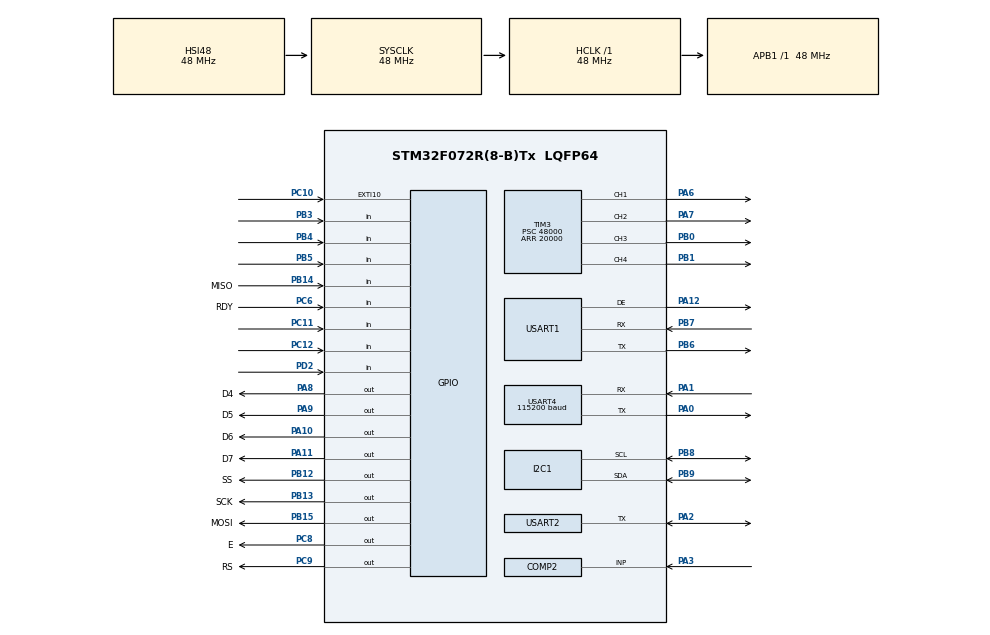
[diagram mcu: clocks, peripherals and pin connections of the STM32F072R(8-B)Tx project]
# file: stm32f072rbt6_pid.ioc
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CRC.InputDataFormat=CRC_INPUTDATA_FORMAT_WORDS
FREERTOS.INCLUDE_vTaskDelayUntil=1
FREERTOS.Mutexes01=Mutex_T_
FREERTOS.Tasks01=adcTask,2,128,StartAdcTask;pidTask,1,128,StartPidTask;LcdTask,0,128,StartLcdTask;ProgramTask,0,128,StartProgramTask
FREERTOS.configCHECK_FOR_STACK_OVERFLOW=2
FREERTOS.configTOTAL_HEAP_SIZE=5000
FREERTOS.configUSE_IDLE_HOOK=1
FREERTOS.configUSE_MALLOC_FAILED_HOOK=1
FREERTOS.configUSE_TIMERS=0
Mcu.Family=STM32F0
Mcu.Name=STM32F072R(8-B)Tx
Mcu.Package=LQFP64
NVIC.EXTI4_15_IRQn=true\:3\:0\:false
NVIC.TIM3_IRQn=true\:3\:0\:false
NVIC.USART1_IRQn=true\:3\:0\:false
NVIC.USART2_IRQn=true\:3\:0\:false
PA0.Mode=Asynchronous
PA0.Signal=USART4_TX
PA1.Mode=Asynchronous
PA1.Signal=USART4_RX
PA10.GPIO_Label=D6
PA10.GPIO_ModeDefaultOutputPP=GPIO_MODE_OUTPUT_PP
PA10.GPIO_PuPd=GPIO_NOPULL
PA10.GPIO_Speed=GPIO_SPEED_LOW
PA10.Signal=GPIO_Output
PA11.GPIO_Label=D7
PA11.GPIO_ModeDefaultOutputPP=GPIO_MODE_OUTPUT_PP
PA11.GPIO_PuPd=GPIO_NOPULL
PA11.GPIO_Speed=GPIO_SPEED_LOW
PA11.Signal=GPIO_Output
PA12.Mode=Hardware Control (RS485)
PA12.Signal=USART1_DE
PA13.Mode=Serial-WireDebug
PA13.Signal=SYS_SWDIO
PA14.Mode=Serial-WireDebug
PA14.Signal=SYS_SWCLK
PA2.Mode=Half_duplex(single_wire_mode)
PA2.Signal=USART2_TX
PA3.Mode=INP
PA3.Signal=COMP2_INP
PA6.Signal=S_TIM3_CH1
PA7.Signal=S_TIM3_CH2
PA8.GPIO_Label=D4
PA8.GPIO_ModeDefaultOutputPP=GPIO_MODE_OUTPUT_PP
PA8.GPIO_PuPd=GPIO_NOPULL
PA8.GPIO_Speed=GPIO_SPEED_LOW
PA8.Signal=GPIO_Output
PA9.GPIO_Label=D5
PA9.GPIO_ModeDefaultOutputPP=GPIO_MODE_OUTPUT_PP
PA9.GPIO_PuPd=GPIO_NOPULL
PA9.GPIO_Speed=GPIO_SPEED_LOW
PA9.Signal=GPIO_Output
PB0.Signal=S_TIM3_CH3
PB1.Signal=S_TIM3_CH4
PB12.GPIO_Label=SS
PB12.GPIO_ModeDefaultOutputPP=GPIO_MODE_OUTPUT_PP
PB12.GPIO_PuPd=GPIO_PULLUP
PB12.GPIO_Speed=GPIO_SPEED_MEDIUM
PB12.Signal=GPIO_Output
PB13.GPIO_Label=SCK
PB13.GPIO_ModeDefaultOutputPP=GPIO_MODE_OUTPUT_PP
PB13.GPIO_PuPd=GPIO_NOPULL
PB13.GPIO_Speed=GPIO_SPEED_HIGH
PB13.Signal=GPIO_Output
PB14.GPIO_Label=MISO
PB14.GPIO_Mode=GPIO_MODE_INPUT
PB14.GPIO_PuPd=GPIO_NOPULL
PB14.Signal=GPIO_Input
PB15.GPIO_Label=MOSI
PB15.GPIO_ModeDefaultOutputPP=GPIO_MODE_OUTPUT_PP
PB15.GPIO_PuPd=GPIO_NOPULL
PB15.GPIO_Speed=GPIO_SPEED_HIGH
PB15.Signal=GPIO_Output
PB3.GPIO_Mode=GPIO_MODE_INPUT
PB3.GPIO_PuPd=GPIO_PULLUP
PB3.Signal=GPIO_Input
PB4.GPIO_Mode=GPIO_MODE_INPUT
PB4.GPIO_PuPd=GPIO_PULLUP
PB4.Signal=GPIO_Input
PB5.GPIO_Mode=GPIO_MODE_INPUT
PB5.GPIO_PuPd=GPIO_PULLUP
PB5.Signal=GPIO_Input
PB6.Mode=Asynchronous
PB6.Signal=USART1_TX
PB7.Mode=Asynchronous
PB7.Signal=USART1_RX
PB8.Mode=I2C
PB8.Signal=I2C1_SCL
PB9.Mode=I2C
PB9.Signal=I2C1_SDA
PC10.GPIO_ModeDefaultEXTI=GPIO_MODE_EVT_RISING
PC10.GPIO_PuPd=GPIO_PULLUP
PC10.Signal=GPXTI10
PC11.GPIO_Mode=GPIO_MODE_INPUT
PC11.GPIO_PuPd=GPIO_PULLUP
PC11.Signal=GPIO_Input
PC12.GPIO_Mode=GPIO_MODE_INPUT
PC12.GPIO_PuPd=GPIO_PULLUP
PC12.Signal=GPIO_Input
PC6.GPIO_Label=RDY
PC6.GPIO_Mode=GPIO_MODE_INPUT
PC6.GPIO_PuPd=GPIO_NOPULL
PC6.Signal=GPIO_Input
PC8.GPIO_Label=E
PC8.GPIO_ModeDefaultOutputPP=GPIO_MODE_OUTPUT_PP
PC8.GPIO_PuPd=GPIO_NOPULL
PC8.GPIO_Speed=GPIO_SPEED_LOW
PC8.Signal=GPIO_Output
PC9.GPIO_Label=RS
PC9.GPIO_ModeDefaultOutputPP=GPIO_MODE_OUTPUT_PP
PC9.GPIO_PuPd=GPIO_NOPULL
PC9.GPIO_Speed=GPIO_SPEED_LOW
PC9.Signal=GPIO_Output
PD2.GPIO_Mode=GPIO_MODE_INPUT
PD2.GPIO_PuPd=GPIO_PULLUP
PD2.Signal=GPIO_Input
ProjectManager.TargetToolchain=MDK-ARM V4
RCC.AHBFreq_Value=48000000
RCC.APB1Freq_Value=48000000
RCC.APB1TimFreq_Value=48000000
RCC.HCLKFreq_Value=48000000
RCC.PLLMUL=RCC_PLL_MUL6
RCC.PLLSource=RCC_PLLSOURCE_HSI48
RCC.PLLSourceVirtual=RCC_PLLSOURCE_HSI48
RCC.PLLSourceVirtualString=RCC_PLLSOURCE_HSI48
RCC.SYSCLKFreq_VALUE=48000000
RCC.SYSCLKSource=RCC_SYSCLKSOURCE_HSI48
SH.S_TIM3_CH1.0=TIM3_CH1,PWM Generation1 CH1
SH.S_TIM3_CH2.0=TIM3_CH2,PWM Generation2 CH2
SH.S_TIM3_CH3.0=TIM3_CH3,PWM Generation3 CH3
SH.S_TIM3_CH4.0=TIM3_CH4,PWM Generation4 CH4
TIM3.Channel-PWM\ Generation2\ CH2=TIM_CHANNEL_2
TIM3.Channel-PWM\ Generation3\ CH3=TIM_CHANNEL_3
TIM3.Channel-PWM\ Generation4\ CH4=TIM_CHANNEL_4
TIM3.Period=20000
TIM3.Prescaler=48000
USART4.BaudRate=115200
USART4.WordLength=UART_WORDLENGTH_8B
VP_COMP2_VS_VREFINT.Mode=VREFINT
VP_CRC_VS_CRC.Mode=CRC_Activate
VP_FREERTOS_VS_ENABLE.Mode=Enabled
VP_IWDG_VS_IWDG.Mode=IWDG_Activate
VP_RTC_VS_RTC_Alarm_A_Intern.Mode=Alarm A

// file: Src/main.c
/**
  ******************************************************************************
  * File Name          : main.c
  * Date               : 27/07/2015 13:18:11
  * Description        : Main program body
  ******************************************************************************
  *
  * COPYRIGHT(c) 2015 STMicroelectronics
  *
  * Redistribution and use in source and binary forms, with or without modification,
  * are permitted provided that the following conditions are met:
  *   1. Redistributions of source code must retain the above copyright notice,
  *      this list of conditions and the following disclaimer.
  *   2. Redistributions in binary form must reproduce the above copyright notice,
  *      this list of conditions and the following disclaimer in the documentation
  *      and/or other materials provided with the distribution.
  *   3. Neither the name of STMicroelectronics nor the names of its contributors
  *      may be used to endorse or promote products derived from this software
  *      without specific prior written permission.
  *
  * THIS SOFTWARE IS PROVIDED BY THE COPYRIGHT HOLDERS AND CONTRIBUTORS "AS IS"
  * AND ANY EXPRESS OR IMPLIED WARRANTIES, INCLUDING, BUT NOT LIMITED TO, THE
  * IMPLIED WARRANTIES OF MERCHANTABILITY AND FITNESS FOR A PARTICULAR PURPOSE ARE
  * DISCLAIMED. IN NO EVENT SHALL THE COPYRIGHT HOLDER OR CONTRIBUTORS BE LIABLE
  * FOR ANY DIRECT, INDIRECT, INCIDENTAL, SPECIAL, EXEMPLARY, OR CONSEQUENTIAL
  * DAMAGES (INCLUDING, BUT NOT LIMITED TO, PROCUREMENT OF SUBSTITUTE GOODS OR
  * SERVICES; LOSS OF USE, DATA, OR PROFITS; OR BUSINESS INTERRUPTION) HOWEVER
  * CAUSED AND ON ANY THEORY OF LIABILITY, WHETHER IN CONTRACT, STRICT LIABILITY,
  * OR TORT (INCLUDING NEGLIGENCE OR OTHERWISE) ARISING IN ANY WAY OUT OF THE USE
  * OF THIS SOFTWARE, EVEN IF ADVISED OF THE POSSIBILITY OF SUCH DAMAGE.
  *
  ******************************************************************************
  */

#include "stm32f0xx_hal.h"
#include "cmsis_os.h"
#include "comp.h"
#include "crc.h"
#include "i2c.h"
#include "iwdg.h"
#include "rtc.h"
#include "tim.h"
#include "usart.h"
#include "gpio.h"

/* USER CODE BEGIN Includes */
//#define USE_FULL_ASSERT 1
//#define NDEBUG
#include "main.h"
//#include "assert.h"

/* USER CODE END Includes */

/* USER CODE BEGIN PV */
//__IO uint8_t dma_t_cplt=1, dma_r_cplt=1;
extern AD7792_HandleTypeDef adi1;
extern SavedDomain_t EepromDomain;
SavedDomain_t Options_rw;
TIM_OC_InitTypeDef sConfigPWM;
HAL_StatusTypeDef sts;
HD44780 lcd;
HD44780_STM32F0xx_GPIO_Driver lcd_pindriver;
volatile uint32_t systick_ms = 0;
/* USER CODE END PV */

void SystemClock_Config(void);
void MX_FREERTOS_Init(void);

/* USER CODE BEGIN PFP */
void init_lcd(void);
void delay_lcd(uint16_t ms);
uint32_t uint32_time_diff(uint32_t now, uint32_t before);
void hd44780_assert_failure_handler(const char *filename, unsigned long line);
static HAL_StatusTypeDef out_pwm_jitter(float32_t pwr) __attribute__((used));
static HAL_StatusTypeDef out_pwm_simple(float32_t pwr) __attribute__((used));
static HAL_StatusTypeDef out_pwm_bresenham(float32_t pwr) __attribute__((used));
/* USER CODE END PFP */

/* USER CODE BEGIN 0 */
HAL_StatusTypeDef (*pf_output[N_FUNC_PWR])(float32_t pwr) = {out_pwm_jitter, out_pwm_simple, out_pwm_bresenham};
static uint16_t counter = 0; //counter for out_pwm_jitter
void HAL_TIM_PeriodElapsedCallback(TIM_HandleTypeDef *htim) {
	counter++;
}

HAL_StatusTypeDef out_pwm_jitter(float32_t pwr) {
	//use mod
	// tc1 6s, 6000 ms, 600 halfcycles 10ms cycle
	// tc2 60s, 10*tc1
	//uint16_t tmp = (uint16_t)(pwr / Options_rw.pwm_scale_f);

	//uint16_t tmp = (uint16_t)pwr;

	uint16_t pwm_val;

	if(counter == 0) {
		pwm_val = (uint16_t)pwr + 10*((uint16_t)pwr%10);
	}
	else {
		pwm_val = (uint16_t)pwr;
	}
	if(counter > 9) {
		counter = 0;
	}

	sConfigPWM.Pulse = pwm_val;
	HAL_TIM_PWM_ConfigChannel(&htim3, &sConfigPWM, TIM_CHANNEL_1);
	//HAL_TIM_PWM_Start(&htim3, TIM_CHANNEL_1);
	HAL_TIM_PWM_Start_IT(&htim3, TIM_CHANNEL_1);

	return HAL_OK;
}
HAL_StatusTypeDef out_pwm_simple(float32_t pwr){
	return HAL_OK;
}

HAL_StatusTypeDef out_pwm_bresenham(float32_t pwr) {
	return HAL_OK;
}

/* USER CODE END 0 */

int main(void)
{

  /* USER CODE BEGIN 1 */
	/*float32_t  cosOutput, sinOutput, sincos;
	float32_t x=0.941943896490312180;
	cosOutput = arm_cos_f32(x);
	sinOutput = arm_sin_f32(x);
	sincos=sinOutput+cosOutput;*/

	/** Rx=((A21+A22)/65536)*Re+(RL2-RL1)
	*  switch Iout1 and Iout2
	*/

	__IO uint32_t conf[5] = {0};
	sConfigPWM.OCMode = TIM_OCMODE_PWM1;
  sConfigPWM.Pulse = 0;
  sConfigPWM.OCPolarity = TIM_OCPOLARITY_HIGH;
  sConfigPWM.OCFastMode = TIM_OCFAST_DISABLE;

	Options_rw = EepromDomain;

  /* USER CODE END 1 */

  /* MCU Configuration----------------------------------------------------------*/

  /* Reset of all peripherals, Initializes the Flash interface and the Systick. */
  HAL_Init();

  /* Configure the system clock */
  SystemClock_Config();

  /* Initialize all configured peripherals */
  MX_GPIO_Init();
  MX_COMP2_Init();
  MX_CRC_Init();
  MX_I2C1_Init();
  MX_IWDG_Init();
  MX_RTC_Init();
  MX_TIM3_Init();
  MX_USART1_UART_Init();
  MX_USART2_UART_Init();
  MX_USART4_UART_Init();

  /* USER CODE BEGIN 2 */
	//keep commented while default config changed
	//uint32_t temp_crc = HAL_CRC_Calculate(&hcrc, (uint32_t*)&Options_rw, OPT_CRC_LEN);
	/*if(Options_rw.crc != temp_crc) {
		//TODO: display CRC error on LCD
		while(1) {
		  ;
		}
	}*/
	//Options_rw.cnt_fw++;
	//ee_format(&EepromDomain);
	/*if(EepromDomain.header != 0xABAB) {
		ee_format(&EepromDomain);
	}*/
	init_lcd();

	for(uint32_t i=0; i<10; i++) {
		static uint32_t counter2 = 0;
		const size_t buf_size = lcd.columns_amount + 1;
		char buf[buf_size];
		snprintf(buf, buf_size, "%d", counter2);
		++counter2;
		hd44780_clear(&lcd);
		hd44780_write_string(&lcd, buf);
		HAL_Delay(200);
	}
	//spi_send_byte((uint8_t)0x55);

	//Options_rw.offset[0] = 0x7000;
	//Options_rw.crc = HAL_CRC_Calculate(&hcrc, (uint32_t*)&Options_rw, OPT_CRC_LEN); //crc32
	//sts = SaveOptToFlash(&Options_rw, &EepromDomain); // 100% work

	AD7792_Reset();
	ADI_Init();

		conf[0] = AD7792_GetRegisterValue(AD7792_REG_CONF, 2, 1);
		conf[1] = AD7792_GetRegisterValue(AD7792_REG_MODE, 2, 1);
		conf[2] = AD7792_GetRegisterValue(AD7792_REG_IO, 1, 1);
		conf[3] = AD7792_GetRegisterValue(AD7792_REG_OFFSET, 2, 1);
		conf[4] = AD7792_GetRegisterValue(AD7792_REG_FULLSCALE, 2, 1);

		//AD7792_Calibrate(&adi1, AD7792_MODE_CAL_SYS_ZERO, AD7792_CH_AIN2P_AIN2M);
		conf[4] = AD7792_GetRegisterValue(AD7792_REG_FULLSCALE, 2, 1);

  /* USER CODE END 2 */

  /* Call init function for freertos objects (in freertos.c) */
  MX_FREERTOS_Init();

  /* Start scheduler */
  osKernelStart();

  /* We should never get here as control is now taken by the scheduler */

  /* Infinite loop */
  while (1)
  {

  /* USER CODE BEGIN 3 */
			/*reading data unstable, some times its read only first byte of data*/
  }
  /* USER CODE END 3 */

}

/** System Clock Configuration
*/
void SystemClock_Config(void)
{

  RCC_OscInitTypeDef RCC_OscInitStruct;
  RCC_ClkInitTypeDef RCC_ClkInitStruct;
  RCC_PeriphCLKInitTypeDef PeriphClkInit;

  RCC_OscInitStruct.OscillatorType = RCC_OSCILLATORTYPE_HSI|RCC_OSCILLATORTYPE_HSI48
                              |RCC_OSCILLATORTYPE_LSI;
  RCC_OscInitStruct.HSIState = RCC_HSI_ON;
  RCC_OscInitStruct.HSI48State = RCC_HSI48_ON;
  RCC_OscInitStruct.HSICalibrationValue = 16;
  RCC_OscInitStruct.LSIState = RCC_LSI_ON;
  RCC_OscInitStruct.PLL.PLLState = RCC_PLL_NONE;
  HAL_RCC_OscConfig(&RCC_OscInitStruct);

  RCC_ClkInitStruct.ClockType = RCC_CLOCKTYPE_SYSCLK;
  RCC_ClkInitStruct.SYSCLKSource = RCC_SYSCLKSOURCE_HSI48;
  RCC_ClkInitStruct.AHBCLKDivider = RCC_SYSCLK_DIV1;
  RCC_ClkInitStruct.APB1CLKDivider = RCC_HCLK_DIV1;
  HAL_RCC_ClockConfig(&RCC_ClkInitStruct, FLASH_LATENCY_1);

  PeriphClkInit.PeriphClockSelection = RCC_PERIPHCLK_USART1|RCC_PERIPHCLK_USART2
                              |RCC_PERIPHCLK_I2C1|RCC_PERIPHCLK_RTC;
  PeriphClkInit.Usart1ClockSelection = RCC_USART1CLKSOURCE_PCLK1;
  PeriphClkInit.Usart2ClockSelection = RCC_USART2CLKSOURCE_PCLK1;
  PeriphClkInit.I2c1ClockSelection = RCC_I2C1CLKSOURCE_HSI;
  PeriphClkInit.RTCClockSelection = RCC_RTCCLKSOURCE_LSI;
  HAL_RCCEx_PeriphCLKConfig(&PeriphClkInit);

  __SYSCFG_CLK_ENABLE();

}

/* USER CODE BEGIN 4 */
void init_lcd(void)
{
  /* Распиновка дисплея */
  const HD44780_STM32F0xx_Pinout lcd_pinout =
  {
    {
      /* RS        */  { GPIOC, GPIO_PIN_9 },
      /* ENABLE    */  { GPIOC, GPIO_PIN_8 },
      /* RW        */  { NULL, 0 },
      /* Backlight */  { NULL, 0 },
      /* DP0       */  { NULL, 0 },
      /* DP1       */  { NULL, 0 },
      /* DP2       */  { NULL, 0 },
      /* DP3       */  { NULL, 0 },
      /* DP4       */  { GPIOA, GPIO_PIN_8 },
      /* DP5       */  { GPIOA, GPIO_PIN_9 },
      /* DP6       */  { GPIOA, GPIO_PIN_10 },
      /* DP7       */  { GPIOA, GPIO_PIN_11 },
    }
  };

  /* Настраиваем драйвер: указываем интерфейс драйвера (стандартный),
     указанную выше распиновку и обработчик ошибок GPIO (необязателен). */
  lcd_pindriver.interface = HD44780_STM32F0XX_PINDRIVER_INTERFACE;
  /* Если вдруг захотите сами вручную настраивать GPIO для дисплея
     (зачем бы вдруг), напишите здесь ещё (библиотека учтёт это):*/
  //lcd_pindriver.interface.configure = NULL;
  lcd_pindriver.pinout = lcd_pinout;
	#ifndef NDEBUG
  lcd_pindriver.assert_failure_handler = hd44780_assert_failure_handler; //hd44780_assert_failure_handler;
	#else
	lcd_pindriver.assert_failure_handler = NULL;
	#endif

  /* �?, наконец, создаём конфигурацию дисплея: указываем наш драйвер,
     функцию задержки, обработчик ошибок дисплея (необязателен) и опции.
     На данный момент доступны две опции - использовать или нет
     вывод RW дисплея (в последнем случае его нужно прижать к GND),
     и то же для управления подсветкой. */
  const HD44780_Config lcd_config =
  {
    (HD44780_GPIO_Interface*)&lcd_pindriver,
    delay_lcd
		#ifndef NDEBUG
    , hd44780_assert_failure_handler //hd44780_assert_failure_handler,
		#endif
    //HD44780_OPT_USE_RW
  };

  /* Ну, а теперь всё стандартно: подаём тактирование на GPIO,
     инициализируем дисплей: 16x2, 4-битный интерфейс, символы 5x8 точек. */
  //RCC_APB2PeriphClockCmd(RCC_APB2Periph_GPIOA, ENABLE);
  hd44780_init(&lcd, HD44780_MODE_4BIT, &lcd_config, 20, 4, HD44780_CHARSIZE_5x8);
}

void delay_lcd(uint16_t ms) {
	HAL_Delay((uint32_t)(ms>1000 ? (ms/1000 + (ms%1000 ? 1 : 0)) : 1));
//	if(xTaskGetSchedulerState() == pdFALSE) {
//		HAL_Delay((uint32_t)(ms));
//	}
//	/*else if(ms < 1000) {
//		//
//	}*/
//	else if(ms>1000) {
//		//
//		osDelay((uint32_t)(ms/1000 + (ms%1000>0 ? 1 : 0)));
//	}
//	else {
//		osDelay(1);
//	}

//	SysTick->VAL = SysTick->LOAD;
//  const uint32_t systick_ms_start = systick_ms;//increment in Systick handler
//  uint16_t us = ms * 1000;
//  while (1)
//  {
//    uint32_t diff = uint32_time_diff(systick_ms, systick_ms_start);

//    if (diff >= ((uint32_t)us / 1000) + (us % 1000 ? 1 : 0))
//      break;
//  }
	//cast types for supress warnings
	// вызов до старта диспетчера приводит к ошибке
	//osDelay((uint32_t)ms);
}

//uint32_t uint32_time_diff(uint32_t now, uint32_t before)
//{
//  return (now >= before) ? (now - before) : (UINT32_MAX - before + now);
//}
#ifndef NDEBUG
void hd44780_assert_failure_handler(const char *filename, unsigned long line)
{
	__IO static char st_file[30];
	__IO static unsigned long st_line;

	for (uint32_t i=0; i<30; i++) {
		st_file[i]=*(filename+i);
	}

	st_line	= line;
  //(void)filename; (void)line;
  do {} while (1);
}
#endif

 /*void HAL_SPI_TxCpltCallback(SPI_HandleTypeDef *hspi) {
	 //change state
	 dma_t_cplt = 0;
 }

 void HAL_SPI_RxCpltCallback(SPI_HandleTypeDef *hspi) {
	 //
	 dma_r_cplt = 0;
 }*/
/* USER CODE END 4 */

#ifdef USE_FULL_ASSERT

/**
   * @brief Reports the name of the source file and the source line number
   * where the assert_param error has occurred.
   * @param file: pointer to the source file name
   * @param line: assert_param error line source number
   * @retval None
   */
void assert_failed(uint8_t* file, uint32_t line)
{
  /* USER CODE BEGIN 6 */
  /* User can add his own implementation to report the file name and line number,
    ex: printf("Wrong parameters value: file %s on line %d\r\n", file, line) */
  do {} while (1);
  /* USER CODE END 6 */

}

#endif

/************************ (C) COPYRIGHT STMicroelectronics *****END OF FILE****/

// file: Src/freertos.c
/**
  ******************************************************************************
  * File Name          : freertos.c
  * Date               : 27/07/2015 13:18:06
  * Description        : Code for freertos applications
  ******************************************************************************
  *
  * COPYRIGHT(c) 2015 STMicroelectronics
  *
  * Redistribution and use in source and binary forms, with or without modification,
  * are permitted provided that the following conditions are met:
  *   1. Redistributions of source code must retain the above copyright notice,
  *      this list of conditions and the following disclaimer.
  *   2. Redistributions in binary form must reproduce the above copyright notice,
  *      this list of conditions and the following disclaimer in the documentation
  *      and/or other materials provided with the distribution.
  *   3. Neither the name of STMicroelectronics nor the names of its contributors
  *      may be used to endorse or promote products derived from this software
  *      without specific prior written permission.
  *
  * THIS SOFTWARE IS PROVIDED BY THE COPYRIGHT HOLDERS AND CONTRIBUTORS "AS IS"
  * AND ANY EXPRESS OR IMPLIED WARRANTIES, INCLUDING, BUT NOT LIMITED TO, THE
  * IMPLIED WARRANTIES OF MERCHANTABILITY AND FITNESS FOR A PARTICULAR PURPOSE ARE
  * DISCLAIMED. IN NO EVENT SHALL THE COPYRIGHT HOLDER OR CONTRIBUTORS BE LIABLE
  * FOR ANY DIRECT, INDIRECT, INCIDENTAL, SPECIAL, EXEMPLARY, OR CONSEQUENTIAL
  * DAMAGES (INCLUDING, BUT NOT LIMITED TO, PROCUREMENT OF SUBSTITUTE GOODS OR
  * SERVICES; LOSS OF USE, DATA, OR PROFITS; OR BUSINESS INTERRUPTION) HOWEVER
  * CAUSED AND ON ANY THEORY OF LIABILITY, WHETHER IN CONTRACT, STRICT LIABILITY,
  * OR TORT (INCLUDING NEGLIGENCE OR OTHERWISE) ARISING IN ANY WAY OUT OF THE USE
  * OF THIS SOFTWARE, EVEN IF ADVISED OF THE POSSIBILITY OF SUCH DAMAGE.
  *
  ******************************************************************************
  */

#include "FreeRTOS.h"
#include "task.h"
#include "cmsis_os.h"

/* USER CODE BEGIN Includes */
#include "main.h"

/* USER CODE END Includes */

osThreadId adcTaskHandle;
osThreadId pidTaskHandle;
osThreadId LcdTaskHandle;
osThreadId ProgramTaskHandle;
osMutexId Mutex_T_Handle;

/* USER CODE BEGIN Variables */
extern AD7792_HandleTypeDef adi1;
//extern SavedDomain_t EepromDomain;
extern SavedDomain_t Options_rw;
extern TIM_HandleTypeDef htim3;
extern UART_HandleTypeDef huart4;
extern HAL_StatusTypeDef (*pf_output[N_FUNC_PWR])(float32_t pwr);
extern HD44780 lcd;
//extern HD44780_STM32F0xx_GPIO_Driver lcd_pindriver;
__IO static Temperature_t temp_handle = {0.0f};
arm_pid_instance_f32 pid_instance_1;
//__IO static float32_t out_tr;
size_t fre=0;
__IO static uint8_t CPU_IDLE = 0, malloc_err=0;

//unsigned int la_adc_task = 0;
//unsigned int la_pid_task = 0;
//fre=xPortGetFreeHeapSize();
//__IO static float32_t t_rtd = 0.0f;

/* USER CODE END Variables */

void StartAdcTask(void const * argument);
void StartPidTask(void const * argument);
void StartLcdTask(void const * argument);
void StartProgramTask(void const * argument);

void MX_FREERTOS_Init(void); /* (MISRA C 2004 rule 8.1) */

/* USER CODE BEGIN FunctionPrototypes */
extern void init_lcd(void);
/* USER CODE END FunctionPrototypes */
/* Hook prototypes */
void vApplicationIdleHook(void);
void vApplicationStackOverflowHook(xTaskHandle xTask, signed char *pcTaskName);
void vApplicationMallocFailedHook(void);

/* USER CODE BEGIN 2 */
void vApplicationIdleHook( void )
{
   /* vApplicationIdleHook() will only be called if configUSE_IDLE_HOOK is set
   to 1 in FreeRTOSConfig.h. It will be called on each iteration of the idle
   task. It is essential that code added to this hook function never attempts
   to block in any way (for example, call xQueueReceive() with a block time
   specified, or call vTaskDelay()). If the application makes use of the
   vTaskDelete() API function (as this demo application does) then it is also
   important that vApplicationIdleHook() is permitted to return to its calling
   function, because it is the responsibility of the idle task to clean up
   memory allocated by the kernel to any task that has since been deleted. */
	 static portTickType LastTick;
        static uint32_t count;             //наш трудяга счетчик
        static uint32_t max_count ;                //максимальное значение счетчика, вычисляется при калибровке и соответствует 100% CPU idle

        count++;                                                  //приращение счетчика

        if((xTaskGetTickCount() - LastTick ) > 1000)    { //если прошло 1000 тиков (1 сек для моей платфрмы)
                LastTick = xTaskGetTickCount();
                if(count > max_count) max_count = count;          //это калибровка
                CPU_IDLE = (100 * count) / max_count;               //вычисляем текущую загрузку
                count = 0;                                        //обнуляем счетчик
        }

}
/* USER CODE END 2 */

/* USER CODE BEGIN 4 */
void vApplicationStackOverflowHook(xTaskHandle xTask, signed char *pcTaskName)
{
   /* Run time stack overflow checking is performed if
   configCHECK_FOR_STACK_OVERFLOW is defined to 1 or 2. This hook function is
   called if a stack overflow is detected. */
__IO	static int8_t taskname[30];
	for(uint32_t i=0; i<30; i++) {
		taskname[i]=*(pcTaskName+i);
	}
}
/* USER CODE END 4 */

/* USER CODE BEGIN 5 */
void vApplicationMallocFailedHook(void)
{
   /* vApplicationMallocFailedHook() will only be called if
   configUSE_MALLOC_FAILED_HOOK is set to 1 in FreeRTOSConfig.h. It is a hook
   function that will get called if a call to pvPortMalloc() fails.
   pvPortMalloc() is called internally by the kernel whenever a task, queue,
   timer or semaphore is created. It is also called by various parts of the
   demo application. If heap_1.c or heap_2.c are used, then the size of the
   heap available to pvPortMalloc() is defined by configTOTAL_HEAP_SIZE in
   FreeRTOSConfig.h, and the xPortGetFreeHeapSize() API function can be used
   to query the size of free heap space that remains (although it does not
   provide information on how the remaining heap might be fragmented). */
	malloc_err++;
}
/* USER CODE END 5 */

/* Init FreeRTOS */

void MX_FREERTOS_Init(void) {

  /* Create the mutex(es) */
  /* definition and creation of Mutex_T_ */
  osMutexDef(Mutex_T_);
  Mutex_T_Handle = osMutexCreate(osMutex(Mutex_T_));

  /* Create the thread(s) */
  /* definition and creation of adcTask */
  osThreadDef(adcTask, StartAdcTask, osPriorityHigh, 0, 128);
  adcTaskHandle = osThreadCreate(osThread(adcTask), NULL);

  /* definition and creation of pidTask */
  osThreadDef(pidTask, StartPidTask, osPriorityAboveNormal, 0, 128);
  pidTaskHandle = osThreadCreate(osThread(pidTask), NULL);

  /* definition and creation of LcdTask */
  osThreadDef(LcdTask, StartLcdTask, osPriorityNormal, 0, 128);
  LcdTaskHandle = osThreadCreate(osThread(LcdTask), NULL);

  /* definition and creation of ProgramTask */
  osThreadDef(ProgramTask, StartProgramTask, osPriorityNormal, 0, 128);
  ProgramTaskHandle = osThreadCreate(osThread(ProgramTask), NULL);

}

/* StartAdcTask function */
void StartAdcTask(void const * argument)
{

  /* USER CODE BEGIN StartAdcTask */
	TickType_t LastWakeTime = xTaskGetTickCount();
	const TickType_t adc_delay = 2000; //milliseconds
	const uint32_t mutex_T_wait = 500; //milliseconds
	static uint32_t filt_conv_rtd;
	osDelay(1000); //for maxcount calibration
	//LastWakeTime = xTaskGetTickCount();

	uint8_t msg1[]="adc_task\n";

  /* Infinite loop */
  for(;;)
  {
		/*reading data unstable, some times its read only first byte of data*/
		__IO uint32_t raw_conv_rtd = 0;

		//la_adc_task = 1;
		HAL_UART_Transmit(&huart4, msg1, sizeof(msg1), 5);

		adi1.io &= ~AD7792_IEXCDIR(0x3);
		adi1.io |= AD7792_IEXCDIR(AD7792_DIR_IEXC1_IOUT2_IEXC2_IOUT1);

		taskENTER_CRITICAL();
		AD7792_conf(&adi1, reg_io); // CS is modified by SPI read/write functions.
		raw_conv_rtd = AD7792_SingleConversion(&adi1);
		taskEXIT_CRITICAL();

		adi1.io &= ~AD7792_IEXCDIR(0x3);
		adi1.io |= AD7792_IEXCDIR(AD7792_DIR_IEXC1_IOUT1_IEXC2_IOUT2);

		taskENTER_CRITICAL();
		AD7792_conf(&adi1, reg_io); // CS is modified by SPI read/write functions.
		raw_conv_rtd += AD7792_SingleConversion(&adi1);
		taskEXIT_CRITICAL();

		filt_conv_rtd = rec_filter(raw_conv_rtd, 55, 8); // 45=30s, 55=20s

		//access through semaphores to temperature state;
		osStatus status = osMutexWait(Mutex_T_Handle, mutex_T_wait);
		if(status == osOK) {
			temp_handle.rtd = rtd_get_temp(filt_conv_rtd, Pt375, r1000);
			temp_handle.setpoint = 25.0f;
			osMutexRelease(Mutex_T_Handle);
		}
		else {
			//do something when error occuring
		}

		fre=xPortGetFreeHeapSize();

		//la_adc_task = 0;

		//osDelay(2000);
		vTaskDelayUntil(&LastWakeTime, adc_delay);//2000
  }
	//vTaskDelete(NULL);
  /* USER CODE END StartAdcTask */
}

/* StartPidTask function */
void StartPidTask(void const * argument)
{
  /* USER CODE BEGIN StartPidTask */
	TickType_t LastWakeTime = xTaskGetTickCount();
	const TickType_t pid_delay = 2000; //milliseconds
	const uint32_t mutex_T_wait = 2000; //milliseconds
	pid_instance_1.Kp = Options_rw.Kp;
	pid_instance_1.Ki = Options_rw.Ki;
	pid_instance_1.Kd = Options_rw.Kd;
	osDelay(1000); //for maxcount calibration

	arm_pid_init_f32(&pid_instance_1, 1);

	uint8_t msg1[]="pid_task\n";

	//where the best place for this?
	HAL_TIM_Base_Start_IT(&htim3);

  /* Infinite loop */
  for(;;)
  {
		float32_t delta_t = 0.0f;//, out_f32 = 0.0f;

		//la_pid_task = 1;
		HAL_UART_Transmit(&huart4, msg1, sizeof(msg1), 5);

		osStatus status = osMutexWait(Mutex_T_Handle, mutex_T_wait);

		if(status == osOK) {
			//calculate difference of setpoint T and measured T
			if(Options_rw.input == in_rtd) {
				delta_t = temp_handle.setpoint - temp_handle.rtd;
			}
			else {
				delta_t = temp_handle.setpoint - temp_handle.thermocouple;
			}//Options_rw.input
			osMutexRelease(Mutex_T_Handle);
		}//status
		else {
			//do something when error occuring
		}

		arm_pid_f32(&pid_instance_1, delta_t);

		if(pid_instance_1.state[2] > PID_MAX_FLT) {
			//overflow protection
			pid_instance_1.state[2] = PID_MAX_FLT;
		}
		else if(pid_instance_1.state[2] < PID_MIN_FLT) {
			//underflow protection
			pid_instance_1.state[2] = PID_MIN_FLT;
		}
		//set output power
		pf_output[Options_rw.pf_out](pid_instance_1.state[2]);//use Eeprom or Options_rw to choice output function?
		//set_output(pid_instance_1.state[2], TIM_CHANNEL_1);
		//set_output(out_f32);
		//out_tr = pid_instance_1.state[2];

		//la_pid_task = 0;

		//osDelay(2000);
    vTaskDelayUntil(&LastWakeTime, pid_delay);//2000
  }
	//vTaskDelete(NULL);
  /* USER CODE END StartPidTask */
}

/* StartLcdTask function */
void StartLcdTask(void const * argument)
{
  /* USER CODE BEGIN StartLcdTask */
	static osStatus status;
	TickType_t LastWakeTime = xTaskGetTickCount();
	const TickType_t lcd_delay = 1000;
	const uint32_t mutex_T_wait = 2000; //milliseconds
//	//static uint32_t counter2 = 5;
  osDelay(1000); //for maxcount calibration
	const size_t buf_size = lcd.columns_amount + 1;
	char buf[buf_size];
	uint8_t msg1[]="lcd_task\n";
  /* Infinite loop */
  for(;;)
  {
		HAL_UART_Transmit(&huart4, msg1, sizeof(msg1), 5);

		status = osMutexWait(Mutex_T_Handle, mutex_T_wait);
		if(status == osOK) {
			snprintf(buf, buf_size, "%5.2f", temp_handle.rtd);
			osMutexRelease(Mutex_T_Handle);
//			//++counter2;
			hd44780_clear(&lcd);
			hd44780_write_string(&lcd, buf);
		}
//		snprintf(buf, buf_size, "%d", counter2);
//
    vTaskDelayUntil(&LastWakeTime, lcd_delay);//
//
//		++counter2;
//    taskENTER_CRITICAL();
//		hd44780_clear(&lcd);
//		hd44780_write_string(&lcd, buf);
//		taskEXIT_CRITICAL();
    //osDelay(1000);
  }
  /* USER CODE END StartLcdTask */
}

/* StartProgramTask function */
void StartProgramTask(void const * argument)
{
  /* USER CODE BEGIN StartProgramTask */
	static osStatus status;
	TickType_t LastWakeTime = xTaskGetTickCount();
	const TickType_t program_delay = 1000;
	const uint32_t mutex_T_wait = 2000; //milliseconds
	static uint32_t time=0;
	static float32_t alpha=0, beta=0;
	uint32_t prog=0;
  uint32_t	step=0;
	osDelay(30000);
	status = osMutexWait(Mutex_T_Handle, mutex_T_wait);
	if(status == osOK) {
		if (Options_rw.input == in_rtd) {
			Options_rw.prog[prog][0].y = temp_handle.rtd;
		}
		else {
			Options_rw.prog[prog][0].y = temp_handle.thermocouple;
		}
		osMutexRelease(Mutex_T_Handle);
	}
	else {
		//do something when error occuring
	}//status

	osDelay(1000); //for maxcount calibration
  /* Infinite loop */
  for(;;)
  {
		//update coefficients
		if (time >= Options_rw.prog[prog][step].time) {

		  alpha = (Options_rw.prog[prog][step+1].y - Options_rw.prog[prog][step].y)
			          /
			  		  (Options_rw.prog[prog][step+1].time - Options_rw.prog[prog][step].time);
			beta = Options_rw.prog[prog][step+1].y - Options_rw.prog[prog][step+1].time * alpha;

			if(step<N_STEP) { //not end program?
				//next step is has valid time?
				if(Options_rw.prog[prog][step+1].time > Options_rw.prog[prog][step].time) {
					step++;
			  }
			}//(step<N_STEP)
		}//update coefficients

		status = osMutexWait(Mutex_T_Handle, mutex_T_wait);
		if(status == osOK) {
			//calculate setpoint by a linear equation
			temp_handle.setpoint = (float32_t)(alpha * time) + beta;
			osMutexRelease(Mutex_T_Handle);
		}
		else {
			//do something when error occuring
		}

		time++;
    vTaskDelayUntil(&LastWakeTime, program_delay);
  }
  /* USER CODE END StartProgramTask */
}

/************************ (C) COPYRIGHT STMicroelectronics *****END OF FILE****/
